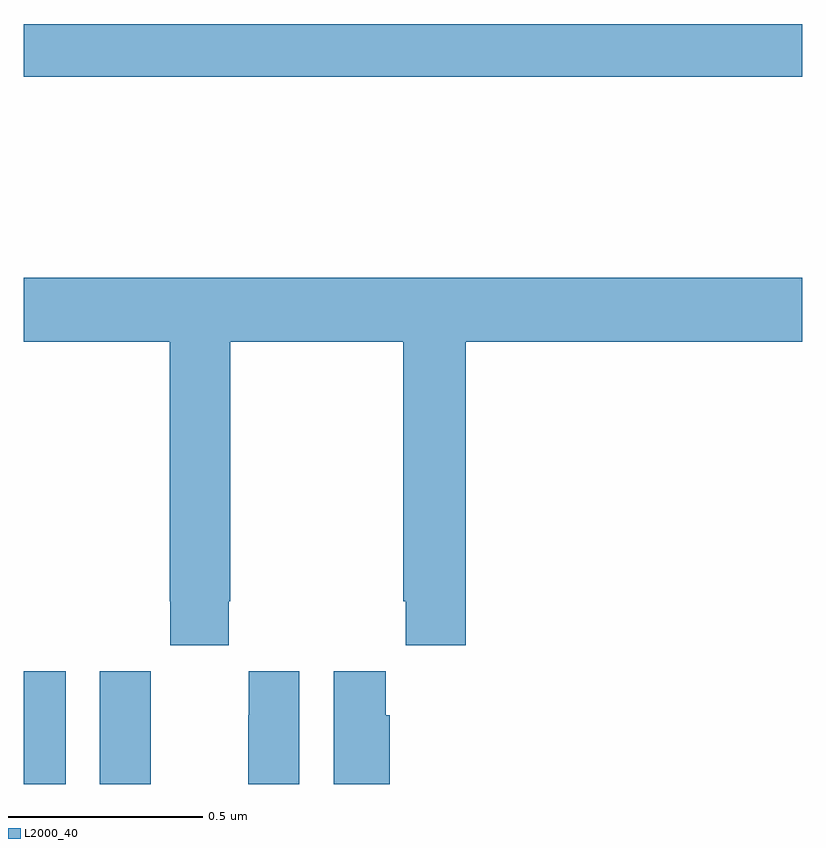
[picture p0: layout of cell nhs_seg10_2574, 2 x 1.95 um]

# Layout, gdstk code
import gdstk
lib = gdstk.Library(unit=1e-6, precision=1e-09)
def R(c, l, rs):  # rectangles x0, y0, x1, y1
    for r in rs: c.add(gdstk.rectangle(r[:2], r[2:], *l))
def P(c, l, *ps):  # polygons
    for p in ps: c.add(gdstk.Polygon(p, *l))
L2000_40 = (2000, 40)

nhs_seg10_2574 = lib.new_cell('nhs_seg10_2574')
R(nhs_seg10_2574, L2000_40, [(142,1312.5,142.108,1312.789), (142,1314.316,144,1314.452)])
P(nhs_seg10_2574, L2000_40, [(142.527,1312.969),(142.53,1312.969),(142.53,1313.636),(142.975,1313.636),(142.975,1312.969),(142.981,1312.969),(142.981,1312.857),(143.135,1312.857),(143.135,1313.636),(144,1313.636),(144,1313.8),(142,1313.8),(142,1313.636),(142.375,1313.636),(142.375,1312.969),(142.377,1312.969),(142.377,1312.857),(142.527,1312.857)],
  [(142.327,1312.676),(142.326,1312.676),(142.326,1312.789),(142.196,1312.789),(142.196,1312.5),(142.327,1312.5)],
  [(142.708,1312.789),(142.578,1312.789),(142.578,1312.676),(142.577,1312.676),(142.577,1312.5),(142.708,1312.5)],
  [(142.94,1312.676),(142.93,1312.676),(142.93,1312.789),(142.796,1312.789),(142.796,1312.5),(142.94,1312.5)])

lib.write_gds('nhs_seg10_2574.gds')
